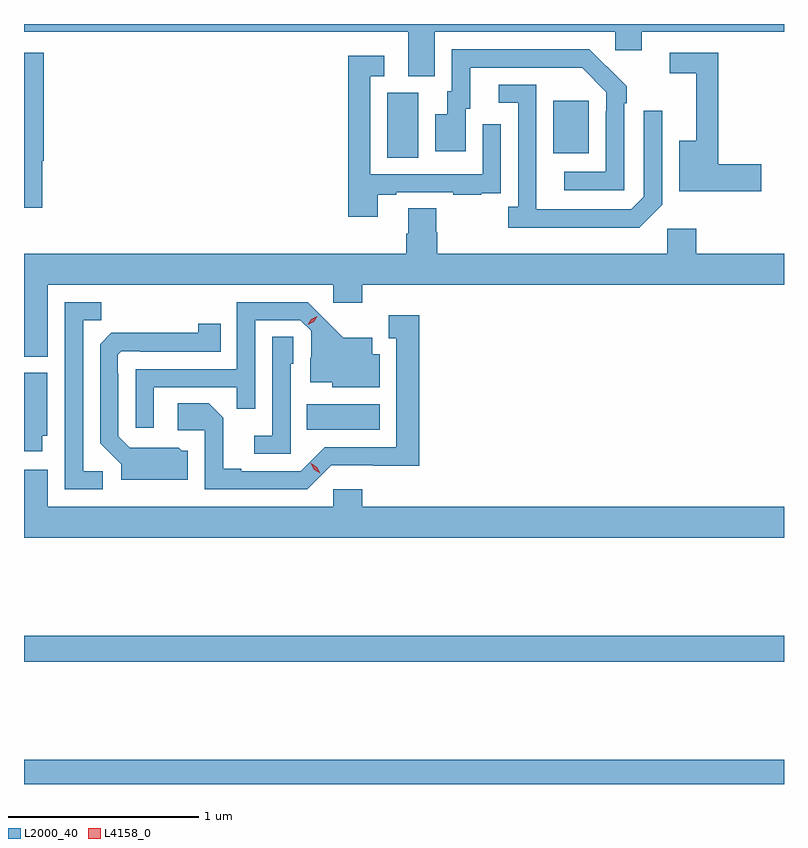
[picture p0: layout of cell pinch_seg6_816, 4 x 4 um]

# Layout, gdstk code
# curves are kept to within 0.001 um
import gdstk
lib = gdstk.Library(unit=1e-6, precision=1e-09)
def R(c, l, rs):  # rectangles x0, y0, x1, y1
    for r in rs: c.add(gdstk.rectangle(r[:2], r[2:], *l))
def P(c, l, *ps):  # polygons
    for p in ps: c.add(gdstk.Polygon(p, *l))
L2000_40 = (2000, 40)
L4158_0 = (4158, 0)

pinch_seg6_816 = lib.new_cell('pinch_seg6_816')
R(pinch_seg6_816, L2000_40, [(155.416,970.017,159.416,970.144), (155.416,970.66,159.416,970.796), (156.904,971.882,157.288,972.016), (157.328,973.312,157.492,973.656), (158.201,973.337,158.389,973.612)])
P(pinch_seg6_816, L2000_40, [(157.579,973.976),(158.529,973.976),(158.529,973.878),(158.668,973.878),(158.668,973.976),(159.416,973.976),(159.416,974.017),(155.416,974.017),(155.416,973.976),(157.439,973.976),(157.439,973.741),(157.579,973.741)],
  [(158.574,973.601),(158.589,973.601),(158.589,973.689),(158.392,973.884),(157.668,973.884),(157.668,973.662),(157.643,973.662),(157.643,973.543),(157.58,973.543),(157.58,973.347),(157.741,973.347),(157.741,973.572),(157.765,973.572),(157.765,973.788),(158.353,973.788),(158.481,973.659),(158.481,973.559),(158.478,973.559),(158.478,973.239),(158.259,973.239),(158.259,973.143),(158.574,973.143)],
  [(155.513,973.298),(155.519,973.298),(155.519,973.866),(155.416,973.866),(155.416,973.05),(155.513,973.05)],
  [(159.295,973.28),(159.071,973.28),(159.071,973.866),(158.814,973.866),(158.814,973.758),(158.954,973.758),(158.954,973.402),(158.864,973.402),(158.864,973.138),(159.295,973.138)],
  [(157.279,973.119),(157.375,973.119),(157.375,973.131),(157.675,973.131),(157.675,973.119),(157.823,973.119),(157.823,973.125),(157.925,973.125),(157.925,973.234),(157.926,973.234),(157.926,973.489),(157.83,973.489),(157.83,973.227),(157.239,973.227),(157.239,973.743),(157.312,973.743),(157.312,973.849),(157.123,973.849),(157.123,973.002),(157.279,973.002)],
  [(158.775,973.065),(158.775,973.561),(158.679,973.561),(158.679,973.107),(158.613,973.041),(158.113,973.041),(158.112,973.698),(157.914,973.698),(157.914,973.602),(158.016,973.602),(158.016,973.054),(157.965,973.054),(157.965,972.944),(158.654,972.944)],
  [(155.542,972.644),(157.044,972.644),(157.044,972.549),(157.196,972.549),(157.196,972.644),(159.416,972.644),(159.416,972.808),(158.954,972.808),(158.954,972.94),(158.802,972.94),(158.802,972.808),(157.592,972.808),(157.592,972.921),(157.587,972.921),(157.587,973.046),(157.439,973.046),(157.439,972.914),(157.427,972.914),(157.427,972.808),(155.416,972.808),(155.416,972.266),(155.542,972.266)],
  [(155.83,971.664),(155.727,971.664),(155.727,972.457),(155.823,972.457),(155.823,972.552),(155.631,972.552),(155.631,971.568),(155.83,971.568)],
  [(156.099,972.105),(156.535,972.105),(156.535,971.992),(156.633,971.992),(156.633,972.459),(156.87,972.459),(156.927,972.402),(156.927,972.26),(156.923,972.26),(156.923,972.131),(157.038,972.131),(157.038,972.104),(157.288,972.104),(157.288,972.28),(157.249,972.28),(157.249,972.367),(157.097,972.367),(156.91,972.552),(156.537,972.552),(156.537,972.201),(156.003,972.201),(156.003,971.892),(156.099,971.892)],
  [(157.032,971.694),(157.495,971.693),(157.495,972.484),(157.337,972.484),(157.337,972.363),(157.376,972.363),(157.376,971.79),(156.999,971.79),(156.873,971.664),(156.559,971.664),(156.559,971.677),(156.465,971.677),(156.465,971.944),(156.389,972.02),(156.225,972.02),(156.225,971.88),(156.366,971.88),(156.366,971.568),(156.906,971.568)],
  [(156.277,971.772),(156.246,971.772),(156.23,971.788),(155.973,971.787),(155.913,971.847),(155.913,972.176),(155.91,972.176),(155.91,972.276),(155.928,972.294),(156.028,972.294),(156.028,972.291),(156.452,972.291),(156.452,972.439),(156.334,972.439),(156.334,972.392),(155.876,972.391),(155.817,972.332),(155.817,971.81),(155.927,971.7),(155.927,971.618),(156.277,971.618)],
  [(156.819,972.228),(156.834,972.228),(156.834,972.371),(156.723,972.371),(156.723,971.851),(156.627,971.851),(156.627,971.754),(156.819,971.754)],
  [(155.512,971.85),(155.539,971.85),(155.539,972.181),(155.416,972.181),(155.416,971.769),(155.512,971.769)],
  [(159.416,971.476),(157.196,971.476),(157.196,971.569),(157.044,971.569),(157.044,971.476),(155.542,971.476),(155.542,971.671),(155.416,971.671),(155.416,971.312),(159.416,971.312)])
P(pinch_seg6_816, L4158_0, [(156.975,971.652),(156.944,971.671),(156.926,971.704),(156.926,971.704),(156.927,971.704),(156.958,971.685),(156.975,971.652),(156.975,971.652)],
  [(156.91,972.435),(156.91,972.435),(156.928,972.464),(156.959,972.479),(156.96,972.479),(156.96,972.479),(156.942,972.45),(156.91,972.435)])

lib.write_gds('pinch_seg6_816.gds')
